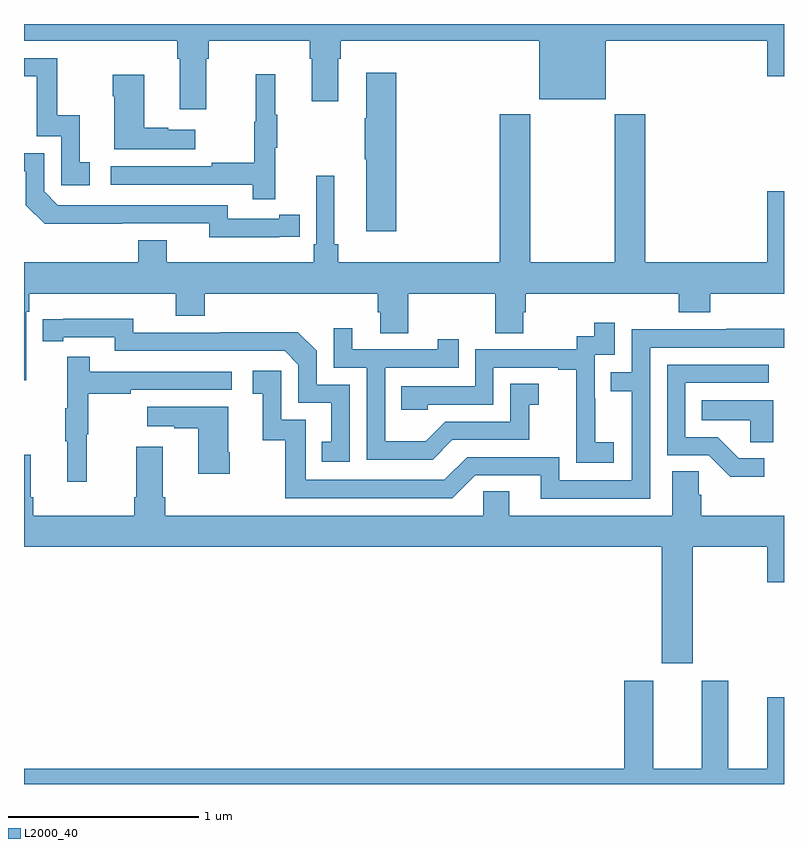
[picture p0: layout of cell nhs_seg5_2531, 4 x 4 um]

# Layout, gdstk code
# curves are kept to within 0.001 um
import gdstk
lib = gdstk.Library(unit=1e-6, precision=1e-09)
def P(c, l, *ps):  # polygons
    for p in ps: c.add(gdstk.Polygon(p, *l))
L2000_40 = (2000, 40)

nhs_seg5_2531 = lib.new_cell('nhs_seg5_2531')
P(nhs_seg5_2531, L2000_40, [(257.959,904.616),(257.972,904.616),(257.972,904.712),(258.503,904.712),(258.503,904.616),(258.515,904.616),(258.515,904.392),(258.655,904.392),(258.655,904.616),(258.668,904.616),(258.668,904.712),(259.712,904.712),(259.712,904.403),(260.062,904.403),(260.062,904.712),(260.912,904.712),(260.912,904.524),(261,904.524),(261,904.799),(257,904.799),(257,904.712),(257.807,904.712),(257.807,904.616),(257.819,904.616),(257.819,904.35),(257.959,904.35)],
  [(257.347,904.071),(257.294,904.071),(257.294,904.318),(257.176,904.318),(257.176,904.62),(257,904.62),(257,904.524),(257.067,904.524),(257.067,904.209),(257.196,904.209),(257.196,903.951),(257.347,903.951)],
  [(258.959,904.543),(258.8,904.543),(258.8,904.304),(258.793,904.304),(258.793,904.087),(258.8,904.087),(258.8,903.708),(258.959,903.708)],
  [(258.323,904.147),(258.334,904.147),(258.334,904.321),(258.323,904.321),(258.323,904.534),(258.22,904.534),(258.22,904.284),(258.213,904.284),(258.213,904.07),(257.989,904.07),(257.989,904.05),(257.457,904.05),(257.457,903.954),(258.205,903.954),(258.205,903.876),(258.323,903.876)],
  [(257.902,904.243),(257.759,904.243),(257.759,904.253),(257.632,904.253),(257.632,904.531),(257.467,904.531),(257.467,904.418),(257.474,904.418),(257.474,904.139),(257.902,904.139)],
  [(259.627,903.282),(259.64,903.282),(259.64,903.38),(260.447,903.38),(260.447,903.281),(260.612,903.281),(260.612,903.38),(261,903.38),(261,903.919),(260.912,903.919),(260.912,903.544),(260.27,903.544),(260.27,904.324),(260.11,904.324),(260.11,903.544),(259.665,903.544),(259.665,904.324),(259.505,904.324),(259.505,903.544),(258.653,903.544),(258.653,903.64),(258.634,903.64),(258.634,904),(258.537,904),(258.537,903.64),(258.524,903.64),(258.524,903.544),(257.752,903.544),(257.752,903.661),(257.6,903.661),(257.6,903.544),(257,903.544),(257,902.925),(257.013,902.925),(257.013,903.284),(257.027,903.284),(257.027,903.38),(257.798,903.38),(257.798,903.263),(257.951,903.263),(257.951,903.38),(258.863,903.38),(258.863,903.282),(258.875,903.282),(258.875,903.172),(259.023,903.172),(259.023,903.38),(259.48,903.38),(259.48,903.172),(259.627,903.172)],
  [(258.344,903.678),(258.452,903.678),(258.452,903.794),(258.344,903.794),(258.344,903.774),(258.072,903.774),(258.072,903.846),(257.178,903.846),(257.106,903.918),(257.106,904.119),(257,904.119),(257,904.023),(257.01,904.023),(257.01,903.846),(257.108,903.749),(257.976,903.75),(257.976,903.677)],
  [(258.714,902.901),(258.54,902.901),(258.54,903.078),(258.442,903.176),(258.034,903.176),(258.034,903.174),(257.574,903.174),(257.574,903.247),(257.098,903.246),(257.098,903.13),(257.206,903.13),(257.206,903.15),(257.478,903.15),(257.478,903.078),(258.372,903.078),(258.444,903.006),(258.444,902.805),(258.617,902.805),(258.617,902.601),(258.568,902.601),(258.568,902.496),(258.714,902.496)],
  [(260.104,902.599),(260.006,902.599),(260.006,902.828),(260.004,902.828),(260.004,903.057),(260.109,903.057),(260.109,903.226),(260.001,903.226),(260.001,903.156),(259.908,903.156),(259.908,903.087),(259.374,903.087),(259.374,902.892),(258.985,902.892),(258.985,902.769),(259.125,902.769),(259.125,902.796),(259.47,902.796),(259.47,902.991),(259.811,902.991),(259.811,902.979),(259.907,902.979),(259.907,902.695),(259.906,902.695),(259.906,902.489),(260.104,902.489)],
  [(259.255,902.61),(259.659,902.61),(259.659,902.795),(259.708,902.795),(259.708,902.905),(259.56,902.905),(259.56,902.706),(259.218,902.706),(259.114,902.602),(258.9,902.602),(258.9,902.991),(259.289,902.991),(259.289,903.139),(259.178,903.139),(259.178,903.087),(258.727,903.087),(258.727,903.199),(258.63,903.199),(258.63,902.991),(258.804,902.991),(258.804,902.505),(259.15,902.505)],
  [(260.295,903.096),(261,903.096),(261,903.194),(260.695,903.194),(260.695,903.192),(260.199,903.192),(260.199,902.967),(260.089,902.967),(260.089,902.866),(260.199,902.866),(260.199,902.397),(259.818,902.397),(259.818,902.52),(259.332,902.52),(259.212,902.4),(258.483,902.4),(258.483,902.715),(258.354,902.715),(258.354,902.974),(258.204,902.974),(258.204,902.853),(258.257,902.853),(258.257,902.607),(258.375,902.607),(258.375,902.304),(259.254,902.304),(259.374,902.424),(259.721,902.424),(259.721,902.301),(260.295,902.301)],
  [(257.33,902.64),(257.338,902.64),(257.338,902.854),(257.561,902.854),(257.561,902.874),(258.094,902.874),(258.094,902.97),(257.345,902.97),(257.345,903.049),(257.228,903.049),(257.228,902.777),(257.217,902.777),(257.217,902.603),(257.228,902.603),(257.228,902.391),(257.33,902.391)],
  [(260.896,902.514),(260.761,902.514),(260.65,902.625),(260.481,902.625),(260.481,902.91),(260.92,902.91),(260.92,903.006),(260.385,903.006),(260.385,902.529),(260.604,902.529),(260.717,902.417),(260.896,902.417)],
  [(260.944,902.818),(260.566,902.818),(260.566,902.714),(260.823,902.714),(260.823,902.599),(260.944,902.599)],
  [(258.084,902.545),(258.076,902.545),(258.076,902.785),(257.649,902.785),(257.649,902.681),(257.791,902.681),(257.791,902.671),(257.918,902.671),(257.918,902.433),(258.084,902.433)],
  [(260.521,902.048),(260.912,902.048),(260.912,901.86),(261,901.86),(261,902.212),(260.564,902.212),(260.564,902.321),(260.55,902.321),(260.55,902.444),(260.411,902.444),(260.411,902.212),(259.555,902.212),(259.555,902.339),(259.416,902.339),(259.416,902.212),(257.744,902.212),(257.744,902.308),(257.731,902.308),(257.731,902.575),(257.591,902.575),(257.591,902.308),(257.579,902.308),(257.579,902.212),(257.048,902.212),(257.048,902.308),(257.035,902.308),(257.035,902.533),(257,902.533),(257,902.048),(260.357,902.048),(260.357,901.434),(260.521,901.434)],
  [(261,901.255),(260.912,901.255),(260.912,900.88),(260.707,900.88),(260.707,901.342),(260.567,901.342),(260.567,900.88),(260.311,900.88),(260.311,901.342),(260.159,901.342),(260.159,900.88),(257,900.88),(257,900.799),(261,900.799)])

lib.write_gds('nhs_seg5_2531.gds')
